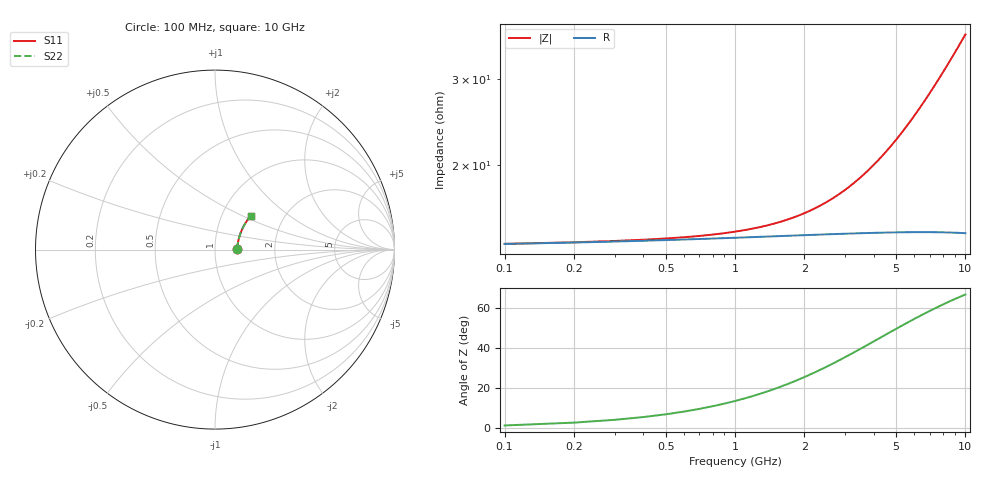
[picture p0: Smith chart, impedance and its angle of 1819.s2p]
# Hz S RI R 50.00
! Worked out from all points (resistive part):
!   100 points, 100 MHz to 10 GHz, reference 50 ohm
!   read as one part in series: R = 13.8 ohm at 100 MHz
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1e8  0.1209 0.00214  0.8791 -0.00317  0.8791 -0.00317  0.1209 0.00214
2e8  0.1217 0.00427  0.8783 -0.00634  0.8783 -0.00634  0.1217 0.00427
3e8  0.1222 0.00639  0.8778 -0.0095  0.8778 -0.0095  0.1222 0.00639
8e8  0.1242 0.017  0.8758 -0.0252  0.8758 -0.0252  0.1242 0.017
1.1e9  0.1252 0.0233  0.8747 -0.0346  0.8747 -0.0346  0.1252 0.0233
1.4e9  0.1263 0.0295  0.8736 -0.044  0.8736 -0.044  0.1263 0.0295
1.8e9  0.1278 0.0379  0.872 -0.0565  0.872 -0.0565  0.1278 0.0379
2.1e9  0.129 0.0441  0.8707 -0.0658  0.8707 -0.0658  0.129 0.0441
2.5e9  0.1308 0.0523  0.8688 -0.0782  0.8688 -0.0782  0.1308 0.0523
2.9e9  0.1328 0.0605  0.8667 -0.0905  0.8667 -0.0905  0.1328 0.0605
3.4e9  0.1355 0.0706  0.8638 -0.1058  0.8638 -0.1058  0.1355 0.0706
4.2e9  0.1405 0.0865  0.8585 -0.13  0.8585 -0.13  0.1405 0.0865
5.1e9  0.1471 0.104  0.8514 -0.1568  0.8514 -0.1568  0.1471 0.104
5.9e9  0.1538 0.1191  0.8441 -0.1802  0.8441 -0.1802  0.1538 0.1191
6.7e9  0.1613 0.1336  0.8361 -0.2031  0.8361 -0.2031  0.1613 0.1336
7.2e9  0.1664 0.1425  0.8306 -0.2172  0.8306 -0.2172  0.1664 0.1425
7.6e9  0.1706 0.1494  0.826 -0.2283  0.826 -0.2283  0.1706 0.1494
8e9  0.1751 0.1562  0.8212 -0.2392  0.8212 -0.2392  0.1751 0.1562
8.4e9  0.1797 0.1628  0.8163 -0.25  0.8163 -0.25  0.1797 0.1628
8.8e9  0.1844 0.1693  0.8111 -0.2606  0.8111 -0.2606  0.1844 0.1693
9.2e9  0.1893 0.1756  0.8058 -0.2711  0.8058 -0.2711  0.1893 0.1756
1e10  0.1996 0.1878  0.7946 -0.2916  0.7946 -0.2916  0.1996 0.1878
